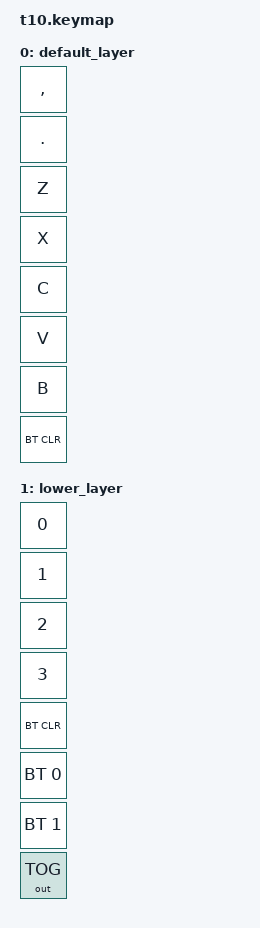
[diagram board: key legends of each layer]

/*
 * Copyright (c) 2022 The ZMK Contributors
 *
 * SPDX-License-Identifier: MIT
 */

#include <behaviors.dtsi>
#include <dt-bindings/zmk/keys.h>
#include <dt-bindings/zmk/bt.h>
#include <dt-bindings/zmk/outputs.h>

&lt {
    tapping-term-ms = <200>;
};

/ {
    keymap {
        compatible = "zmk,keymap";

        default_layer {
            bindings = <
                &kp COMMA
                &kp DOT
                &kp Z
                &kp X
                &kp C 
                &kp V     
                &kp B       
                &bt BT_CLR
            >;
        };

        lower_layer {
            bindings = <
                &kp N0
                &kp N1
                &kp N2
                &kp N3
                &bt BT_CLR
                &bt BT_SEL 0     
                &bt BT_SEL 1       
                &out OUT_TOG
            >;
        };
    };
};
